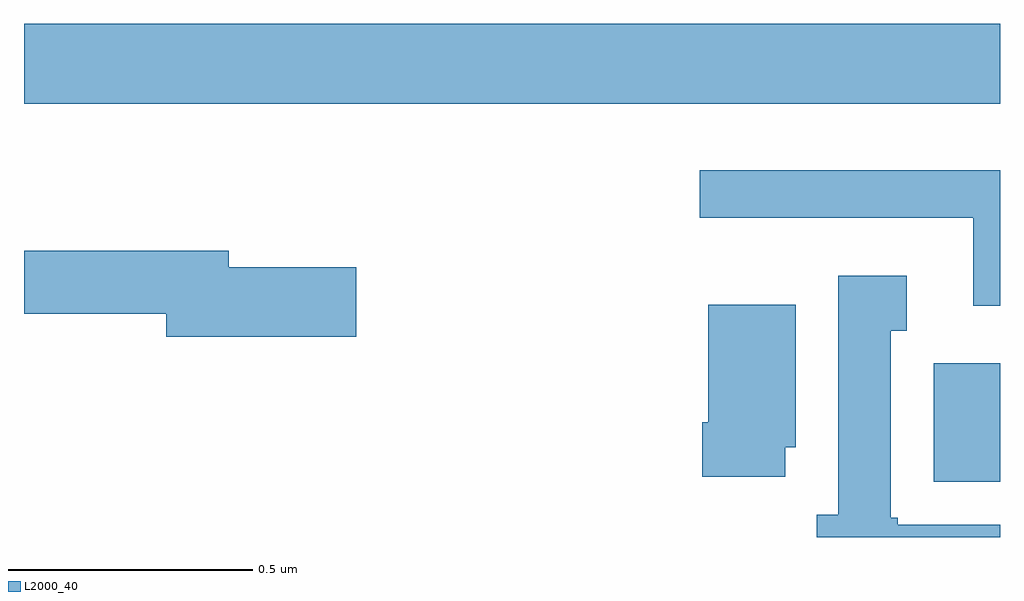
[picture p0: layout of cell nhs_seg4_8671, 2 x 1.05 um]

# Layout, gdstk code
import gdstk
lib = gdstk.Library(unit=1e-6, precision=1e-09)
def R(c, l, rs):  # rectangles x0, y0, x1, y1
    for r in rs: c.add(gdstk.rectangle(r[:2], r[2:], *l))
def P(c, l, *ps):  # polygons
    for p in ps: c.add(gdstk.Polygon(p, *l))
L2000_40 = (2000, 40)

nhs_seg4_8671 = lib.new_cell('nhs_seg4_8671')
R(nhs_seg4_8671, L2000_40, [(218.864,828.014,219,828.256), (217,828.788,219,828.952)])
P(nhs_seg4_8671, L2000_40, [(219,828.652),(218.385,828.652),(218.385,828.555),(218.945,828.555),(218.945,828.374),(219,828.374)],
  [(217.681,828.453),(217.42,828.453),(217.42,828.487),(217,828.487),(217,828.358),(217.292,828.358),(217.292,828.311),(217.681,828.311)],
  [(219,827.926),(218.79,827.926),(218.79,827.94),(218.776,827.94),(218.776,828.323),(218.809,828.323),(218.809,828.436),(218.669,828.436),(218.669,827.946),(218.624,827.946),(218.624,827.9),(219,827.9)],
  [(218.56,828.084),(218.581,828.084),(218.581,828.376),(218.402,828.376),(218.402,828.136),(218.39,828.136),(218.39,828.024),(218.56,828.024)])

lib.write_gds('nhs_seg4_8671.gds')
